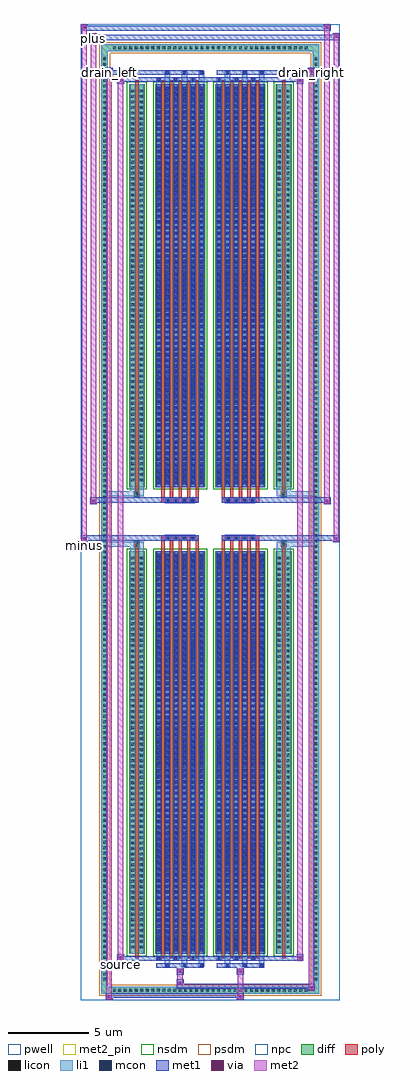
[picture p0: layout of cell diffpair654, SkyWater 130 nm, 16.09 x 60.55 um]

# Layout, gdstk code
import gdstk
lib = gdstk.Library(unit=1e-6, precision=5e-09)
def R(c, l, rs):  # rectangles x0, y0, x1, y1
    for r in rs: c.add(gdstk.rectangle(r[:2], r[2:], *l))
def A(c, l, x, y, w, h, nx, ny, dx, dy):  # array of equal rectangles
    R(c, l, [(x+i*dx, y+j*dy, x+i*dx+w, y+j*dy+h) for i in range(nx) for j in range(ny)])
def P(c, l, *ps):  # polygons
    for p in ps: c.add(gdstk.Polygon(p, *l))
pwell = (64, 44)
diff = (65, 20)
poly = (66, 20)
licon = (66, 44)
li1 = (67, 20)
mcon = (67, 44)
met1 = (68, 20)
via = (68, 44)
met2_pin = (69, 16)
met2 = (69, 20)
nsdm = (93, 44)
psdm = (94, 20)
npc = (95, 20)

diffpair654 = lib.new_cell('diffpair654')
R(diffpair654, pwell, [(-8.03,-29.84,8.03,30.71), (-5.35,-28.03,-0.01,-0.805), (0.01,-28.03,5.35,-0.805), (-5.35,0.805,-0.01,28.03), (0.01,0.805,5.35,28.03)])
A(diffpair654, diff, -6.155, -29.44, 0.41, 0.41, 36, 2, 0.34, 58.47)
A(diffpair654, diff, -6.76, -28.765, 0.41, 0.41, 1, 169, 0, 0.34)
A(diffpair654, diff, 6.35, -28.765, 0.41, 0.41, 1, 169, 0, 0.34)
R(diffpair654, diff, [(-6.155,-29.44,6.155,-29.03), (-6.76,-28.765,-6.35,28.765), (6.35,-28.765,6.76,28.765), (-5.04,-26.985,-4.06,-1.985), (-3.42,-26.985,-0.32,-1.985), (0.32,-26.985,3.42,-1.985), (4.06,-26.985,5.04,-1.985), (-5.04,1.985,-4.06,26.985), (-3.42,1.985,-0.32,26.985), (0.32,1.985,3.42,26.985), (4.06,1.985,5.04,26.985), (-6.155,29.03,6.155,29.44)])
P(diffpair654, diff, [(6.76,29.44),(-6.76,29.44),(-6.76,-29.03),(-6.35,-29.03),(-6.35,29.03),(6.35,29.03),(6.35,-29.03),(-6.35,-29.03),(-6.76,-29.03),(-6.76,-29.44),(6.76,-29.44)])
A(diffpair654, poly, -3.03, -27.235, 0.2, 25.5, 5, 2, 0.53, 28.97)
A(diffpair654, poly, 0.71, -27.235, 0.2, 25.5, 5, 2, 0.53, 28.97)
A(diffpair654, poly, -3.03, -1.735, 0.2, 0.4, 5, 2, 0.53, 3.07)
A(diffpair654, poly, 0.71, -1.735, 0.2, 0.4, 5, 2, 0.53, 3.07)
A(diffpair654, poly, -2.785, -1.335, 0.33, 0.33, 4, 2, 0.5, 2.34)
A(diffpair654, poly, 0.955, -1.335, 0.33, 0.33, 4, 2, 0.5, 2.34)
R(diffpair654, poly, [(-4.65,-27.235,-4.45,-1.735), (4.45,-27.235,4.65,-1.735), (-4.715,-1.735,-4.385,-1.405), (-4.715,-1.735,-4.385,-1.405), (4.385,-1.735,4.715,-1.405), (4.385,-1.735,4.715,-1.405), (-3.03,-1.335,-0.71,-1.005), (0.71,-1.335,3.03,-1.005), (-3.03,1.005,-0.71,1.335), (0.71,1.005,3.03,1.335), (-4.715,1.405,-4.385,1.735), (-4.715,1.405,-4.385,1.735), (4.385,1.405,4.715,1.735), (4.385,1.405,4.715,1.735), (-4.65,1.735,-4.45,27.235), (4.45,1.735,4.65,27.235)])
A(diffpair654, licon, -6.035, -29.32, 0.17, 0.17, 36, 2, 0.34, 58.47)
A(diffpair654, licon, -6.64, -28.645, 0.17, 0.17, 1, 169, 0, 0.34)
A(diffpair654, licon, 6.47, -28.645, 0.17, 0.17, 1, 169, 0, 0.34)
A(diffpair654, licon, -4.9, -26.64, 0.17, 0.17, 1, 72, 0, 0.34)
A(diffpair654, licon, -4.37, -26.64, 0.17, 0.17, 1, 72, 0, 0.34)
A(diffpair654, licon, -3.28, -26.64, 0.17, 0.17, 6, 72, 0.53, 0.34)
A(diffpair654, licon, 0.46, -26.64, 0.17, 0.17, 6, 72, 0.53, 0.34)
A(diffpair654, licon, 4.2, -26.64, 0.17, 0.17, 1, 72, 0, 0.34)
A(diffpair654, licon, 4.73, -26.64, 0.17, 0.17, 1, 72, 0, 0.34)
A(diffpair654, licon, -2.705, -1.255, 0.17, 0.17, 4, 2, 0.5, 2.34)
A(diffpair654, licon, 1.035, -1.255, 0.17, 0.17, 4, 2, 0.5, 2.34)
A(diffpair654, licon, -4.9, 2.33, 0.17, 0.17, 1, 72, 0, 0.34)
A(diffpair654, licon, -4.37, 2.33, 0.17, 0.17, 1, 72, 0, 0.34)
A(diffpair654, licon, -3.28, 2.33, 0.17, 0.17, 6, 72, 0.53, 0.34)
A(diffpair654, licon, 0.46, 2.33, 0.17, 0.17, 6, 72, 0.53, 0.34)
A(diffpair654, licon, 4.2, 2.33, 0.17, 0.17, 1, 72, 0, 0.34)
A(diffpair654, licon, 4.73, 2.33, 0.17, 0.17, 1, 72, 0, 0.34)
R(diffpair654, licon, [(-4.635,-1.655,-4.465,-1.485), (4.465,-1.655,4.635,-1.485), (-4.635,1.485,-4.465,1.655), (4.465,1.485,4.635,1.655)])
A(diffpair654, li1, -6.115, -29.4, 0.33, 0.33, 36, 2, 0.34, 58.47)
A(diffpair654, li1, -6.72, -28.725, 0.33, 0.33, 1, 169, 0, 0.34)
A(diffpair654, li1, 6.39, -28.725, 0.33, 0.33, 1, 169, 0, 0.34)
A(diffpair654, li1, -2.83, -27.79, 0.33, 0.805, 3, 2, 1.06, 54.775)
A(diffpair654, li1, -2.75, -27.79, 0.17, 0.17, 3, 2, 1.06, 55.41)
A(diffpair654, li1, 0.91, -27.79, 0.33, 0.805, 3, 2, 1.06, 54.775)
A(diffpair654, li1, 0.99, -27.79, 0.17, 0.17, 3, 2, 1.06, 55.41)
A(diffpair654, li1, -3.36, -27.36, 0.33, 0.375, 3, 2, 1.06, 54.345)
A(diffpair654, li1, -3.28, -27.36, 0.17, 0.17, 3, 2, 1.06, 54.55)
A(diffpair654, li1, 0.38, -27.36, 0.33, 0.375, 3, 2, 1.06, 54.345)
A(diffpair654, li1, 0.46, -27.36, 0.17, 0.17, 3, 2, 1.06, 54.55)
A(diffpair654, li1, -3.36, -26.985, 0.33, 25, 6, 2, 0.53, 28.97)
A(diffpair654, li1, 0.38, -26.985, 0.33, 25, 6, 2, 0.53, 28.97)
A(diffpair654, li1, -3.28, -26.81, 0.17, 0.17, 6, 69, 0.53, 0.36)
A(diffpair654, li1, -3.28, -26.81, 0.17, 24.65, 6, 2, 0.53, 28.97)
A(diffpair654, li1, 0.46, -26.81, 0.17, 0.17, 6, 69, 0.53, 0.36)
A(diffpair654, li1, 0.46, -26.81, 0.17, 24.65, 6, 2, 0.53, 28.97)
A(diffpair654, li1, -4.98, -26.72, 0.33, 0.33, 1, 72, 0, 0.34)
A(diffpair654, li1, -4.45, -26.72, 0.33, 0.33, 1, 72, 0, 0.34)
A(diffpair654, li1, -3.36, -26.72, 0.33, 0.33, 6, 72, 0.53, 0.34)
A(diffpair654, li1, 0.38, -26.72, 0.33, 0.33, 6, 72, 0.53, 0.34)
A(diffpair654, li1, 4.12, -26.72, 0.33, 0.33, 1, 72, 0, 0.34)
A(diffpair654, li1, 4.65, -26.72, 0.33, 0.33, 1, 72, 0, 0.34)
A(diffpair654, li1, -2.785, -1.335, 0.33, 0.33, 4, 2, 0.5, 2.34)
A(diffpair654, li1, 0.955, -1.335, 0.33, 0.33, 4, 2, 0.5, 2.34)
A(diffpair654, li1, -3.28, 2.16, 0.17, 0.17, 6, 69, 0.53, 0.36)
A(diffpair654, li1, 0.46, 2.16, 0.17, 0.17, 6, 69, 0.53, 0.36)
A(diffpair654, li1, -4.98, 2.25, 0.33, 0.33, 1, 72, 0, 0.34)
A(diffpair654, li1, -4.45, 2.25, 0.33, 0.33, 1, 72, 0, 0.34)
A(diffpair654, li1, -3.36, 2.25, 0.33, 0.33, 6, 72, 0.53, 0.34)
A(diffpair654, li1, 0.38, 2.25, 0.33, 0.33, 6, 72, 0.53, 0.34)
A(diffpair654, li1, 4.12, 2.25, 0.33, 0.33, 1, 72, 0, 0.34)
A(diffpair654, li1, 4.65, 2.25, 0.33, 0.33, 1, 72, 0, 0.34)
R(diffpair654, li1, [(-6.76,-29.44,-6.35,-29.03), (-6.76,-29.44,-6.35,-29.03), (-6.35,-29.44,6.35,-29.03), (6.35,-29.44,6.76,-29.03), (6.35,-29.44,6.76,-29.03), (-6.76,-29.03,-6.35,29.03), (6.35,-29.03,6.76,29.03), (-4.98,-26.985,-4.65,-1.985), (-4.45,-26.985,-4.12,-1.985), (4.12,-26.985,4.45,-1.985), (4.65,-26.985,4.98,-1.985), (-4.98,-1.985,-4.65,-1.405), (-4.45,-1.985,-4.12,-1.405), (4.12,-1.985,4.45,-1.405), (4.65,-1.985,4.98,-1.405), (-6.76,-1.735,-4.715,-1.405), (-4.98,-1.735,-4.715,-1.405), (-4.715,-1.735,-4.385,-1.405), (-4.385,-1.735,-4.12,-1.405), (4.12,-1.735,4.385,-1.405), (4.385,-1.735,4.715,-1.405), (4.385,-1.735,6.76,-1.405), (4.715,-1.735,4.98,-1.405), (-6.76,1.405,-4.715,1.735), (-4.98,1.405,-4.715,1.735), (-4.98,1.405,-4.65,1.985), (-4.715,1.405,-4.385,1.735), (-4.45,1.405,-4.12,1.985), (-4.385,1.405,-4.12,1.735), (4.12,1.405,4.385,1.735), (4.12,1.405,4.45,1.985), (4.385,1.405,4.715,1.735), (4.385,1.405,6.76,1.735), (4.65,1.405,4.98,1.985), (4.715,1.405,4.98,1.735), (-4.98,1.985,-4.65,26.985), (-4.45,1.985,-4.12,26.985), (4.12,1.985,4.45,26.985), (4.65,1.985,4.98,26.985), (-6.76,29.03,-6.35,29.44), (-6.76,29.03,-6.35,29.44), (-6.35,29.03,6.35,29.44), (6.35,29.03,6.76,29.44), (6.35,29.03,6.76,29.44)])
A(diffpair654, mcon, -2.75, -27.79, 0.17, 0.17, 3, 2, 1.06, 55.41)
A(diffpair654, mcon, 0.99, -27.79, 0.17, 0.17, 3, 2, 1.06, 55.41)
A(diffpair654, mcon, -3.28, -27.36, 0.17, 0.17, 3, 2, 1.06, 54.55)
A(diffpair654, mcon, 0.46, -27.36, 0.17, 0.17, 3, 2, 1.06, 54.55)
A(diffpair654, mcon, -3.28, -26.81, 0.17, 0.17, 6, 69, 0.53, 0.36)
A(diffpair654, mcon, 0.46, -26.81, 0.17, 0.17, 6, 69, 0.53, 0.36)
A(diffpair654, mcon, -2.705, -1.255, 0.17, 0.17, 4, 2, 0.5, 2.34)
A(diffpair654, mcon, 1.035, -1.255, 0.17, 0.17, 4, 2, 0.5, 2.34)
A(diffpair654, mcon, -3.28, 2.16, 0.17, 0.17, 6, 69, 0.53, 0.36)
A(diffpair654, mcon, 0.46, 2.16, 0.17, 0.17, 6, 69, 0.53, 0.36)
A(diffpair654, met1, -2.81, -27.85, 0.29, 0.29, 3, 2, 1.06, 55.41)
A(diffpair654, met1, 0.93, -27.85, 0.29, 0.29, 3, 2, 1.06, 55.41)
A(diffpair654, met1, -3.34, -27.42, 0.29, 0.29, 3, 2, 1.06, 54.55)
A(diffpair654, met1, 0.4, -27.42, 0.29, 0.29, 3, 2, 1.06, 54.55)
A(diffpair654, met1, -3.34, -26.985, 0.29, 25, 6, 2, 0.53, 28.97)
A(diffpair654, met1, 0.4, -26.985, 0.29, 25, 6, 2, 0.53, 28.97)
A(diffpair654, met1, -3.34, -26.87, 0.29, 0.29, 6, 69, 0.53, 0.36)
A(diffpair654, met1, 0.4, -26.87, 0.29, 0.29, 6, 69, 0.53, 0.36)
A(diffpair654, met1, -2.765, -1.315, 0.29, 0.29, 4, 2, 0.5, 2.34)
A(diffpair654, met1, 0.975, -1.315, 0.29, 0.29, 4, 2, 0.5, 2.34)
A(diffpair654, met1, -3.34, 2.1, 0.29, 0.29, 6, 69, 0.53, 0.36)
A(diffpair654, met1, 0.4, 2.1, 0.29, 0.29, 6, 69, 0.53, 0.36)
R(diffpair654, met1, [(-6.49,-29.84,-6.06,-29.41), (1.655,-29.84,2.085,-29.41), (-6.49,-29.7,2.085,-29.41), (6.06,-29.27,6.49,-28.84), (-2.085,-29.13,6.49,-28.84), (-2.085,-28.99,-1.655,-28.56), (-2.085,-28.28,-1.655,-27.85), (1.655,-28.28,2.085,-27.85), (-3.34,-27.85,-0.4,-27.56), (0.4,-27.85,3.34,-27.56), (-5.78,-27.42,-5.35,-26.99), (-5.78,-27.42,-3.34,-27.13), (-3.34,-27.42,-0.4,-27.13), (-0.4,-27.42,0.4,-27.13), (0.4,-27.42,3.34,-27.13), (3.34,-27.42,5.78,-27.13), (5.35,-27.42,5.78,-26.99), (-8.03,-1.435,-7.6,-1.005), (7.6,-1.435,8.03,-1.005), (-8.03,-1.335,-0.71,-1.005), (-3.03,-1.335,-0.71,-1.005), (0.71,-1.335,3.03,-1.005), (0.71,-1.335,8.03,-1.005), (-7.46,0.905,-7.03,1.335), (7.03,0.905,7.46,1.335), (-7.46,1.005,-3.03,1.335), (-3.03,1.005,-0.71,1.335), (0.71,1.005,3.03,1.335), (3.03,1.005,7.46,1.335), (-5.78,26.99,-5.35,27.42), (5.35,26.99,5.78,27.42), (-5.78,27.13,-3.34,27.42), (-3.34,27.13,-0.4,27.42), (-0.4,27.13,0.4,27.42), (0.4,27.13,3.34,27.42), (3.34,27.13,5.78,27.42), (-6.49,27.56,-6.06,27.99), (-6.49,27.56,-3.34,27.85), (-3.34,27.56,-0.4,27.85), (0.4,27.56,3.34,27.85), (3.34,27.56,6.49,27.85), (6.06,27.56,6.49,27.99), (-7.46,29.71,-7.03,30.14), (-7.46,29.71,-5.35,30.04), (-5.35,29.71,5.35,30.04), (5.35,29.71,8.03,30.04), (7.6,29.71,8.03,30.14), (-8.03,30.28,-7.6,30.71), (-8.03,30.28,-5.35,30.61), (-5.35,30.28,5.35,30.61), (5.35,30.28,7.46,30.61), (7.03,30.28,7.46,30.71)])
R(diffpair654, via, [(-6.35,-29.7,-6.2,-29.55), (1.795,-29.7,1.945,-29.55), (6.2,-29.13,6.35,-28.98), (-1.945,-28.85,-1.795,-28.7), (-1.945,-28.14,-1.795,-27.99), (1.795,-28.14,1.945,-27.99), (-5.64,-27.28,-5.49,-27.13), (5.49,-27.28,5.64,-27.13), (-7.89,-1.295,-7.74,-1.145), (7.74,-1.295,7.89,-1.145), (-7.32,1.045,-7.17,1.195), (7.17,1.045,7.32,1.195), (-5.64,27.13,-5.49,27.28), (5.49,27.13,5.64,27.28), (-6.35,27.7,-6.2,27.85), (6.2,27.7,6.35,27.85), (-7.32,29.85,-7.17,30), (7.74,29.85,7.89,30), (-7.89,30.42,-7.74,30.57), (7.17,30.42,7.32,30.57)])
R(diffpair654, met2_pin, [(-5.815,-27.87,-5.315,-27.37), (-8.065,-1.885,-7.565,-1.385), (-6.525,27.44,-6.025,27.94), (6.025,27.44,6.525,27.94), (-7.495,29.59,-6.995,30.09)])
R(diffpair654, met2, [(-6.44,-29.79,-6.11,-29.46), (-6.44,-29.79,-6.11,27.94), (1.705,-29.79,2.035,-29.46), (1.705,-29.46,2.035,-28.23), (6.11,-29.22,6.44,-28.89), (6.11,-29.22,6.44,27.94), (-2.035,-28.94,-1.705,-28.61), (-2.035,-28.61,-1.705,-28.23), (-2.035,-28.23,-1.705,-27.9), (1.705,-28.23,2.035,-27.9), (-5.73,-27.37,-5.4,-27.04), (-5.73,-27.37,-5.4,27.37), (5.4,-27.37,5.73,-27.04), (5.4,-27.37,5.73,27.37), (-7.98,-1.385,-7.65,-1.055), (-7.98,-1.385,-7.65,30.66), (7.65,-1.385,7.98,-1.055), (7.65,-1.385,7.98,30.09), (-7.41,0.955,-7.08,1.285), (-7.41,0.955,-7.08,30.09), (7.08,0.955,7.41,1.285), (7.08,0.955,7.41,30.66), (-5.73,27.04,-5.4,27.37), (5.4,27.04,5.73,27.37), (-6.44,27.61,-6.11,27.94), (6.11,27.61,6.44,27.94), (-7.41,29.76,-7.08,30.09), (7.65,29.76,7.98,30.09), (-7.98,30.33,-7.65,30.66), (7.08,30.33,7.41,30.66)])
P(diffpair654, met2, [(7.98,-1.385),(7.98,-1.385),(7.98,-1.055),(7.98,-1.055)],
  [(7.98,29.76),(7.98,29.76),(7.98,30.09),(7.98,30.09)],
  [(-7.65,-1.385),(-7.65,-1.385),(-7.65,-1.055),(-7.65,-1.055)],
  [(-7.65,30.33),(-7.65,30.33),(-7.65,30.66),(-7.65,30.66)],
  [(7.41,0.955),(7.41,0.955),(7.41,1.285),(7.41,1.285)],
  [(7.41,30.33),(7.41,30.33),(7.41,30.66),(7.41,30.66)],
  [(-7.08,0.955),(-7.08,0.955),(-7.08,1.285),(-7.08,1.285)],
  [(-7.08,29.76),(-7.08,29.76),(-7.08,30.09),(-7.08,30.09)],
  [(-6.11,-29.79),(-6.11,-29.79),(-6.11,-29.46),(-6.11,-29.46)],
  [(-6.11,27.61),(-6.11,27.61),(-6.11,27.94),(-6.11,27.94)],
  [(6.44,-29.22),(6.44,-29.22),(6.44,-28.89),(6.44,-28.89)],
  [(6.44,27.61),(6.44,27.61),(6.44,27.94),(6.44,27.94)],
  [(-5.4,-27.37),(-5.4,-27.37),(-5.4,-27.04),(-5.4,-27.04)],
  [(-5.4,27.04),(-5.4,27.04),(-5.4,27.37),(-5.4,27.37)],
  [(5.73,-27.37),(5.73,-27.37),(5.73,-27.04),(5.73,-27.04)],
  [(5.73,27.04),(5.73,27.04),(5.73,27.37),(5.73,27.37)])
R(diffpair654, nsdm, [(-5.17,-27.115,-3.93,-1.855), (-3.55,-27.115,-0.19,-1.855), (0.19,-27.115,3.55,-1.855), (3.93,-27.115,5.17,-1.855), (-5.17,1.855,-3.93,27.115), (-3.55,1.855,-0.19,27.115), (0.19,1.855,3.55,27.115), (3.93,1.855,5.17,27.115)])
P(diffpair654, psdm, [(6.89,29.57),(-6.89,29.57),(-6.89,-28.9),(-6.22,-28.9),(-6.22,28.9),(6.22,28.9),(6.22,-28.9),(-6.22,-28.9),(-6.89,-28.9),(-6.89,-29.57),(6.89,-29.57)])
A(diffpair654, npc, -2.805, -1.355, 0.37, 0.37, 4, 2, 0.5, 2.34)
A(diffpair654, npc, 0.935, -1.355, 0.37, 0.37, 4, 2, 0.5, 2.34)
R(diffpair654, npc, [(-4.735,-1.755,-4.365,-1.385), (4.365,-1.755,4.735,-1.385), (-2.805,-1.355,-1.935,-0.985), (-2.805,-1.355,-1.935,-0.985), (-2.305,-1.355,-1.435,-0.985), (-2.305,-1.355,-1.435,-0.985), (-1.805,-1.355,-0.935,-0.985), (-1.805,-1.355,-0.935,-0.985), (0.935,-1.355,1.805,-0.985), (0.935,-1.355,1.805,-0.985), (1.435,-1.355,2.305,-0.985), (1.435,-1.355,2.305,-0.985), (1.935,-1.355,2.805,-0.985), (1.935,-1.355,2.805,-0.985), (-2.805,0.985,-1.935,1.355), (-2.805,0.985,-1.935,1.355), (-2.305,0.985,-1.435,1.355), (-2.305,0.985,-1.435,1.355), (-1.805,0.985,-0.935,1.355), (-1.805,0.985,-0.935,1.355), (0.935,0.985,1.805,1.355), (0.935,0.985,1.805,1.355), (1.435,0.985,2.305,1.355), (1.435,0.985,2.305,1.355), (1.935,0.985,2.805,1.355), (1.935,0.985,2.805,1.355), (-4.735,1.385,-4.365,1.755), (4.365,1.385,4.735,1.755)])
diffpair654.add(gdstk.Label('minus', (-7.815,-1.635), layer=69, texttype=5))
diffpair654.add(gdstk.Label('drain_right', (6.275,27.69), layer=69, texttype=5))
diffpair654.add(gdstk.Label('drain_left', (-6.275,27.69), layer=69, texttype=5))
diffpair654.add(gdstk.Label('source', (-5.565,-27.62), layer=69, texttype=5))
diffpair654.add(gdstk.Label('plus', (-7.245,29.84), layer=69, texttype=5))

lib.write_gds('diffpair654.gds')
